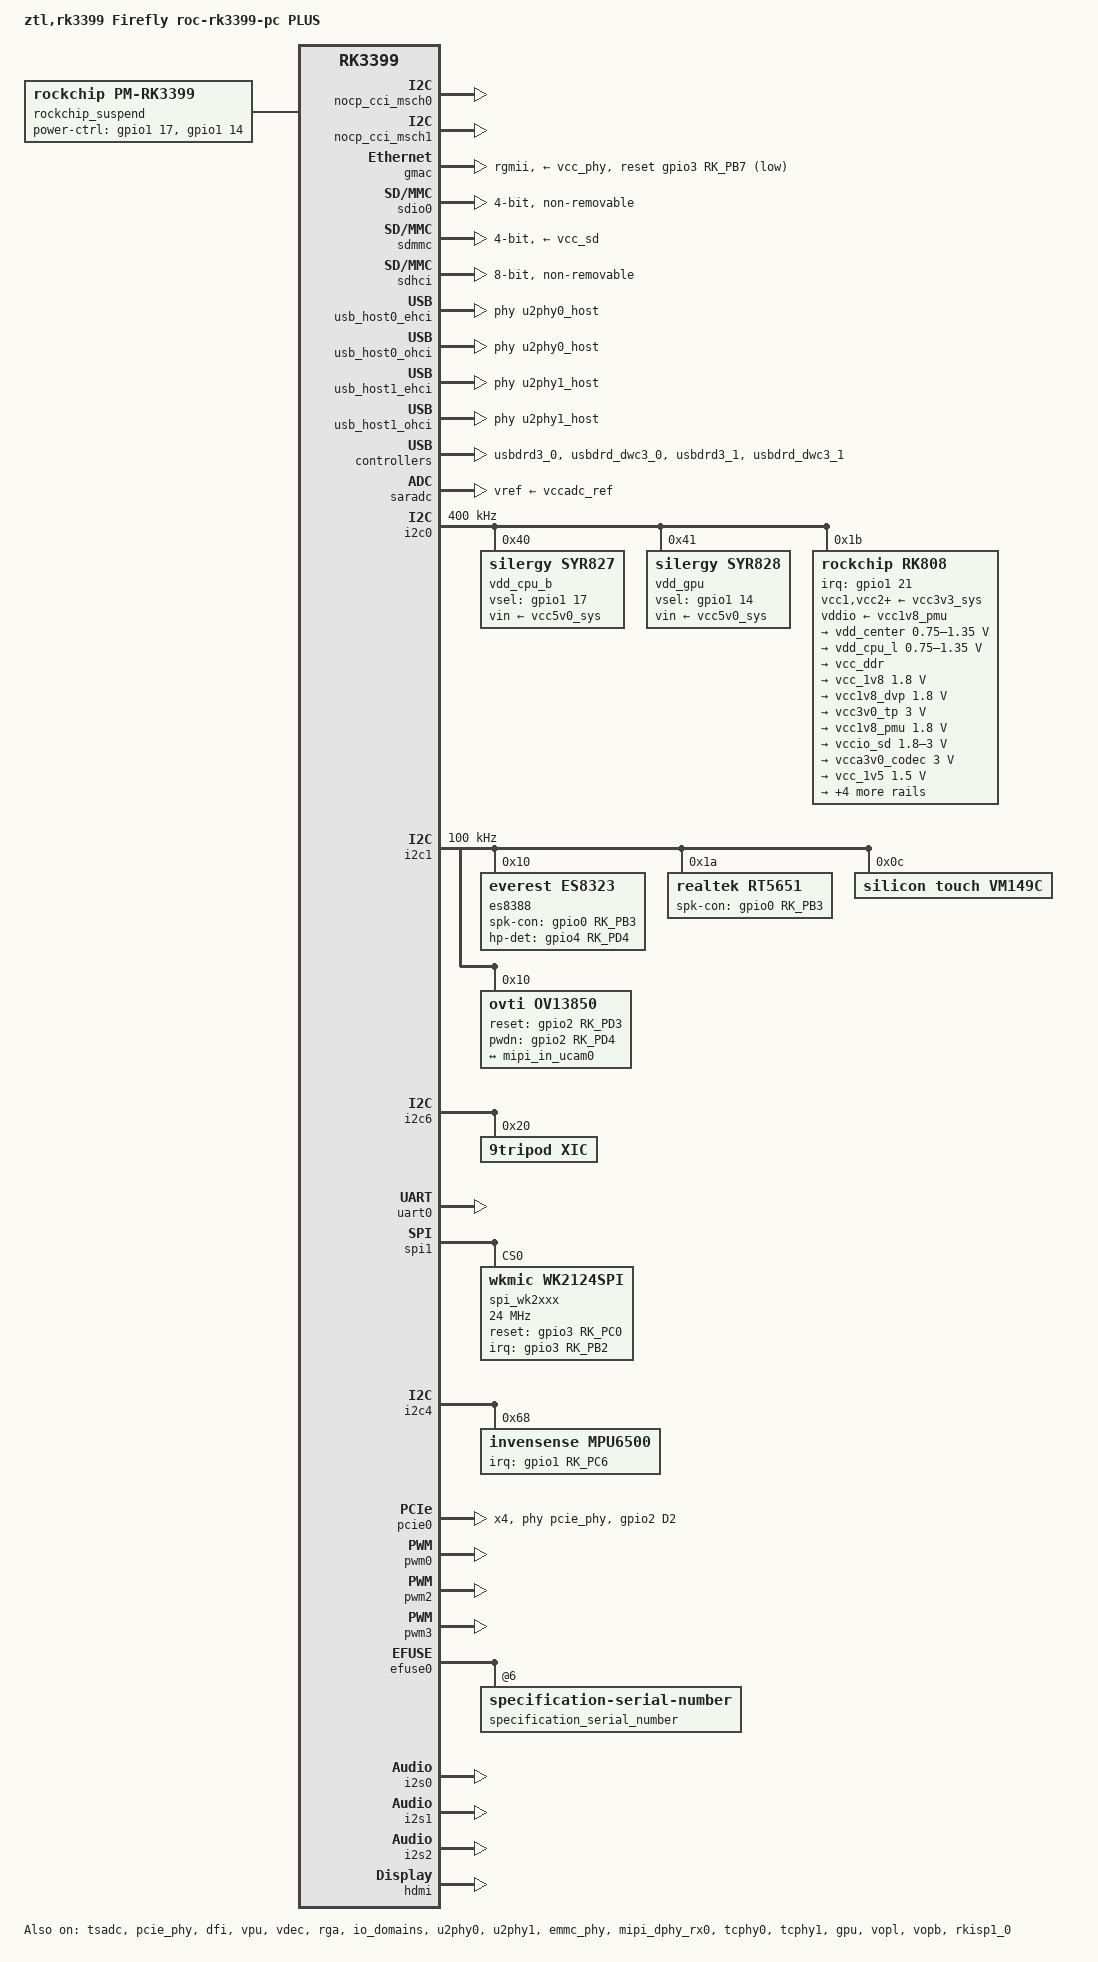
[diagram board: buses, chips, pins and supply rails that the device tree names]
/dts-v1/;
#include <dt-bindings/input/linux-event-codes.h>
#include <dt-bindings/pwm/pwm.h>
#include <dt-bindings/soc/rockchip,boot-mode.h>
#include <dt-bindings/soc/rockchip-system-status.h>
#include "rk3399.dtsi"
#include "rk3399-dc3399-cpu-opp.dtsi"
#include "rk3399-dram-default-timing.dtsi"

/ {
    
    compatible = "ZTL-RK3399-v1.42";
	model = "ztl,rk3399 Firefly roc-rk3399-pc PLUS";

    aliases {
		dsi0 = &mipi_dsi;
		dsi1 = &mipi_dsi1;
		ethernet0 = &gmac;
		i2c0 = &i2c0;
		i2c1 = &i2c1;
		i2c2 = &i2c2;
		i2c3 = &i2c3;
		i2c4 = &i2c4;
		i2c5 = &i2c5;
		i2c6 = &i2c6;
		i2c7 = &i2c7;
		i2c8 = &i2c8;
		serial0 = &uart0;
		serial1 = &uart1;
		serial2 = &uart2;
		serial3 = &uart3;
		serial4 = &uart4;
	};

	cpuinfo {
		compatible = "rockchip,cpuinfo";
		nvmem-cells = <&cpu_id>;
		nvmem-cell-names = "id";
	};
	
	dummy_cpll: dummy_cpll {
		compatible = "fixed-clock";
		clock-frequency = <0>;
		clock-output-names = "dummy_cpll";
		#clock-cells = <0>;
	};

	dummy_vpll: dummy_vpll {
		compatible = "fixed-clock";
		clock-frequency = <0>;
		clock-output-names = "dummy_vpll";
		#clock-cells = <0>;
	};

	usic: usb@fe340000 {
		compatible = "generic-ehci";
		reg = <0x00 0xfe340000 0x00 0x30000>;
		interrupts = <GIC_SPI 33 IRQ_TYPE_LEVEL_HIGH 0>;
		clocks = <&cru HCLK_HSIC>, <&cru SCLK_HSICPHY>, <&cru PCLK_HSICPHY>;
		clock-names = "hclk_hsic", "clk_hsicphy", "pclk_hsicphy";
		rockchip-has-usic;
		status = "disabled";
	};

	iep: iep@ff670000 {
		compatible = "rockchip,iep";
		iommu_enabled = <1>;
		iommus = <&iep_mmu>;
		reg = <0x00 0xff670000 0x00 0x800>;
		interrupts = <GIC_SPI 42 IRQ_TYPE_LEVEL_HIGH 0x00>;
		clocks = <&cru ACLK_IEP>, <&cru HCLK_IEP>;
		clock-names = "aclk_iep", "hclk_iep";
		power-domains = <&power RK3399_PD_IEP>;
		allocator = <1>;
		version = <2>;
		status = "disabled";
	};

    vop1_pwm: voppwm@ff8f01a0 {
		compatible = "rockchip,vop-pwm";
		reg = <0x00 0xff8f01a0 0x00 0x10>;
		#pwm-cells = <3>;
		pinctrl-names = "active";
		pinctrl-0 = <&vop1_pwm_pin>;
		clocks = <&cru SCLK_VOP1_PWM>;
		clock-names = "pwm";
		status = "disabled";
	};

    vop0_pwm: voppwm@ff9001a0 {
		compatible = "rockchip,vop-pwm";
		reg = <0x00 0xff9001a0 0x00 0x10>;
		#pwm-cells = <3>;
		pinctrl-names = "active";
		pinctrl-0 = <&vop0_pwm_pin>;
		clocks = <&cru SCLK_VOP0_PWM>;
		clock-names = "pwm";
		status = "disabled";
	};

    rkisp1_0: rkisp1@ff910000 {
		compatible = "rockchip,rk3399-rkisp1";
		interrupt-names = "isp_irq";
		clocks = <&cru SCLK_ISP0>, <&cru ACLK_ISP0>, <&cru HCLK_ISP0>, <&cru ACLK_ISP0_WRAPPER>, <&cru HCLK_ISP0_WRAPPER>;
		clock-names = "clk_isp", "aclk_isp", "hclk_isp", "aclk_isp_wrap", "hclk_isp_wrap";
		devfreq = <&dmc>;
		status = "okay";

		port {
			#address-cells = <0x01>;
			#size-cells = <0x00>;

			isp0_mipi_in: endpoint@0 {
				reg = <0x00>;
				remote-endpoint = <&dphy_rx0_out>;
			};
		};
	};

    rkisp1_1: rkisp1@ff920000 {
		compatible = "rockchip,rk3399-rkisp1";
		interrupt-names = "isp_irq";
		clocks = <&cru SCLK_ISP1>, <&cru ACLK_ISP1>, <&cru HCLK_ISP1>, <&cru ACLK_ISP1_WRAPPER>, <&cru HCLK_ISP1_WRAPPER>, <&cru PCLK_ISP1_WRAPPER>;
		clock-names = "clk_isp", "aclk_isp", "hclk_isp", "aclk_isp_wrap", "hclk_isp_wrap", "pclk_isp_wrap";
		devfreq = <&dmc>;
		status = "disabled";

		port {
			#address-cells = <0x01>;
			#size-cells = <0x00>;

			isp1_mipi_in: endpoint@0 {
				reg = <0x00>;
				remote-endpoint = <&dphy_tx1rx1_out>;
			};
		};
	};

    mipi_dphy_tx1rx1: mipi-dphy-tx1rx1@ff968000 {
		compatible = "rockchip,rk3399-mipi-dphy";
		reg = <0x00 0xff968000 0x00 0x8000>;
		clocks = <&cru SCLK_MIPIDPHY_REF>, <&cru SCLK_DPHY_TX1RX1_CFG>, <&cru PCLK_VIO_GRF>, <&cru PCLK_MIPI_DSI1>;
		clock-names = "dphy-ref", "dphy-cfg", "grf", "pclk_mipi_dsi";
		rockchip,grf = <&grf>;
		power-domains = <&power RK3399_PD_VIO>;
		status = "disabled";

		ports {
			#address-cells = <1>;
			#size-cells = <0>;

			port@0 {
				reg = <0x00>;
				#address-cells = <1>;
				#size-cells = <0>;

				mipi_in_ucam1: endpoint@1 {
					reg = <0x01>;
					data-lanes = <1 2>;
				};
			};

			port@1 {
				reg = <0x01>;
				#address-cells = <1>;
				#size-cells = <0>;

				dphy_tx1rx1_out: endpoint@0 {
					reg = <0x00>;
					remote-endpoint = <&isp1_mipi_in>;
				};
			};
		};
	};

    hdmi_hdcp2: hdmi-hdcp2@ff988000 {
		compatible = "rockchip,rk3399-hdmi-hdcp2";
		reg = <0x00 0xff988000 0x00 0x2000>;
		interrupts = <GIC_SPI 22 IRQ_TYPE_LEVEL_HIGH 0>;
		clocks = <&cru ACLK_HDCP22>, <&cru PCLK_HDCP22>, <&cru HCLK_VCODEC>;
		clock-names = "aclk_hdcp2", "pclk_hdcp2", "hdcp2_clk_hdmi";
		status = "disabled";
	};

     display_subsystem: display-subsystem {
		compatible = "rockchip,display-subsystem";
		ports = <&vopb_out>, <&drm_logo>;
		clocks = <&cru PLL_VPLL>, <&cru PLL_CPLL>;
		clock-names = "hdmi-tmds-pll", "default-vop-pll";
		devfreq = <&dmc>;
		logo-memory-region = <&drm_logo>;
		status = "okay";

		route {

			route_hdmi: route-hdmi {
				logo,uboot = "logo.bmp";
				logo,kernel = "logo_kernel.bmp";
				logo,mode = "center";
				charge_logo,mode = "center";
				connect = <&vopb_out_hdmi>;
				status = "okay";
			};

			route_dsi: route-dsi {
				logo,uboot = "logo.bmp";
				logo,kernel = "logo_kernel.bmp";
				logo,mode = "center";
				charge_logo,mode = "center";
				connect = <&vopb_out_edp>;
				status = "disabled";
			};

			route_edp: route-edp {
				logo,uboot = "logo.bmp";
				logo,kernel = "logo_kernel.bmp";
				logo,mode = "center";
				charge_logo,mode = "center";
				connect = <&vopb_out_mipi>;
				status = "disabled";
			};
		};
	};

    nocp_cci_msch0: nocp-cci-msch0@ffa86000 {
		compatible = "rockchip,rk3399-nocp";
		reg = <0x00 0xffa86000 0x00 0x400>;
	};

	nocp_gpu_msch0: nocp-gpu-msch0@ffa86400 {
		compatible = "rockchip,rk3399-nocp";
		reg = <0x00 0xffa86400 0x00 0x400>;
	};

	nocp_hp_msch0: nocp-hp-msch0@ffa86800 {
		compatible = "rockchip,rk3399-nocp";
		reg = <0x00 0xffa86800 0x00 0x400>;
	};

	nocp_lp_msch0: nocp-lp-msch0@ffa86c00 {
		compatible = "rockchip,rk3399-nocp";
		reg = <0x00 0xffa86c00 0x00 0x400>;
	};

	nocp_video_msch0: nocp-video-msch0@ffa87000 {
		compatible = "rockchip,rk3399-nocp";
		reg = <0x00 0xffa87000 0x00 0x400>;
	};

	nocp_vio0_msch0: nocp-vio0-msch0@ffa87400 {
		compatible = "rockchip,rk3399-nocp";
		reg = <0x00 0xffa87400 0x00 0x400>;
	};

	nocp_vio1_msch0: nocp-vio1-msch0@ffa87800 {
		compatible = "rockchip,rk3399-nocp";
		reg = <0x00 0xffa87800 0x00 0x400>;
	};

	nocp_cci_msch1: nocp-cci-msch1@ffa8e000 {
		compatible = "rockchip,rk3399-nocp";
		reg = <0x00 0xffa8e000 0x00 0x400>;
	};

	nocp_gpu_msch1: nocp-gpu-msch1@ffa8e400 {
		compatible = "rockchip,rk3399-nocp";
		reg = <0x00 0xffa8e400 0x00 0x400>;
	};

	nocp_hp_msch1: nocp-hp-msch1@ffa8e800 {
		compatible = "rockchip,rk3399-nocp";
		reg = <0x00 0xffa8e800 0x00 0x400>;
	};

	nocp_lp_msch1: nocp-lp-msch1@ffa8ec00 {
		compatible = "rockchip,rk3399-nocp";
		reg = <0x00 0xffa8ec00 0x00 0x400>;
	};

	nocp_video_msch1: nocp-video-msch1@ffa8f000 {
		compatible = "rockchip,rk3399-nocp";
		reg = <0x00 0xffa8f000 0x00 0x400>;
	};

	nocp_vio0_msch1: nocp-vio0-msch1@ffa8f400 {
		compatible = "rockchip,rk3399-nocp";
		reg = <0x00 0xffa8f400 0x00 0x400>;
	};

	nocp_vio1_msch1: nocp-vio1-msch1@ffa8f800 {
		compatible = "rockchip,rk3399-nocp";
		reg = <0x00 0xffa8f800 0x00 0x400>;
	};

	rockchip_system_monitor: rockchip-system-monitor {
		compatible = "rockchip,system-monitor";
		rockchip,thermal-zone = "soc-thermal";
		rockchip,polling-delay = <200>;
	};

    rockchip_suspend: rockchip-suspend {
		compatible = "rockchip,pm-rk3399";
		rockchip,sleep-debug-en = <1>;
		rockchip,virtual-poweroff = <0>;
		rockchip,sleep-mode-config = <0xde>;
		rockchip,wakeup-config = <0x804>;
		rockchip,pwm-regulator-config = <0x04>;
		rockchip,power-ctrl = 
            <&gpio1 17 GPIO_ACTIVE_HIGH>, 
            <&gpio1 14 GPIO_ACTIVE_HIGH>;
		status = "okay";
	};

};

&gmac {
	phy-supply = <&vcc_phy>;
	phy-mode = "rgmii";
	clock_in_out = "input";
	snps,reset-gpio = <&gpio3 RK_PB7 GPIO_ACTIVE_LOW>;
	snps,reset-active-low;
	snps,reset-delays-us = <0 10000 50000>;
	assigned-clocks = <&cru SRST_INTMEM>;
	assigned-clock-parents = <&clkin_gmac>;
	pinctrl-names = "default";
	pinctrl-0 = <&rgmii_pins>;
	tx_delay = <40>;
	rx_delay = <17>;
	status = "okay";
};

&sdio0 {
	clock-frequency = <50000000>;
	clock-freq-min-max = <200000 50000000>;
	supports-sdio;
	bus-width = <4>;
	disable-wp;
	cap-sd-highspeed;
	cap-sdio-irq;
	keep-power-in-suspend;
	mmc-pwrseq = <&sdio_pwrseq>;
	non-removable;
	num-slots = <1>;
	pinctrl-names = "default";
	pinctrl-0 = <&sdio0_bus4 &sdio0_cmd &sdio0_clk>;
	sd-uhs-sdr104;
	status = "okay";
};

&sdmmc {

	clock-frequency = <150000000>;
	clock-freq-min-max = <100000 150000000>;
	supports-sd;
	bus-width = <4>;
	cap-mmc-highspeed;
	cap-sd-highspeed;
	disable-wp;
	num-slots = <1>;
	vmmc-supply = <&vcc_sd>;
	vqmmc-supply = <&vccio_sd>;
	pinctrl-names = "default";
	pinctrl-0 = <&sdmmc_clk &sdmmc_cmd &sdmmc_cd &sdmmc_bus4>;
	status = "okay";
};

&sdhci {
	bus-width = <8>;
	mmc-hs400-1_8v;
	supports-emmc;
	non-removable;
	keep-power-in-suspend;
	mmc-hs400-enhanced-strobe;
	assigned-clock-parents = <&cru &cpu_l3>;
	status = "okay";
};

&usb_host0_ehci {
	clocks = <&cru HCLK_HOST0>,	<&cru HCLK_HOST0_ARB>, <&cru SCLK_DDRC>;
	clock-names = "hclk_host0", "hclk_host0_arb", "usbphy0_480m";
	phys = <&u2phy0_host>;
	phy-names = "usb";
	power-domains = <&power RK3399_PD_PERIHP>;
	status = "okay";
};

&usb_host0_ohci {
	clocks = <&cru HCLK_HOST0>,	<&cru HCLK_HOST0_ARB>, <&cru SCLK_DDRC>;
	clock-names = "hclk_host0", "hclk_host0_arb", "usbphy0_480m";
	phys = <&u2phy0_host>;
	phy-names = "usb";
	power-domains = <&power RK3399_PD_PERIHP>;
	status = "okay";
};

&usb_host1_ehci {
	clocks = <&cru HCLK_HOST1>, <&cru HCLK_HOST1_ARB>, <&cru SCLK_TESTCLKOUT1>;
	clock-names = "hclk_host1", "hclk_host1_arb", "usbphy1_480m";
	phys = <&u2phy1_host>;
	phy-names = "usb";
	power-domains = <&power RK3399_PD_PERIHP>;
	status = "okay";
};

&usb_host1_ohci {
	clocks = <&cru HCLK_HOST1>, <&cru HCLK_HOST1_ARB>, <&cru SCLK_TESTCLKOUT1>;
	clock-names = "hclk_host1", "hclk_host1_arb", "usbphy1_480m";
	phys = <&u2phy1_host>;
	phy-names = "usb";
	power-domains = <&power RK3399_PD_PERIHP>;
	status = "okay";
};

&usbdrd3_0 {
	clocks = <&cru SCLK_USB3OTG0_REF>, <&cru SCLK_USB3OTG0_SUSPEND>, <&cru ACLK_USB3OTG0>, <&cru ACLK_USB3_GRF>;
	clock-names = "ref_clk", "suspend_clk", "bus_clk", "grf_clk";
	power-domains = <&power RK3399_PD_USB3>;
	status = "okay";
};
&usbdrd_dwc3_0 {
	snps,dis_enblslpm_quirk;
	snps,dis-u2-freeclk-exists-quirk;
	snps,dis_u2_susphy_quirk;
	snps,dis-del-phy-power-chg-quirk;
	snps,tx-ipgap-linecheck-dis-quirk;
	snps,xhci-slow-suspend-quirk;
	snps,xhci-trb-ent-quirk;
	snps,usb3-warm-reset-on-resume-quirk;
	maximum-speed = "high-speed";
	status = "okay";
};
&usbdrd3_1 {
	clocks = <&cru SCLK_USB3OTG1_REF>, <&cru SCLK_USB3OTG1_SUSPEND>, <&cru ACLK_USB3OTG1>, <&cru ACLK_USB3_GRF>;
	clock-names = "ref_clk", "suspend_clk", "bus_clk", "grf_clk";
	power-domains = <&power RK3399_PD_USB3>;
	status = "okay";
};
&usbdrd_dwc3_1 {
	snps,dis_enblslpm_quirk;
	snps,dis-u2-freeclk-exists-quirk;
	snps,dis_u2_susphy_quirk;
	snps,dis-del-phy-power-chg-quirk;
	snps,tx-ipgap-linecheck-dis-quirk;
	snps,xhci-slow-suspend-quirk;
	snps,xhci-trb-ent-quirk;
	snps,usb3-warm-reset-on-resume-quirk;
	status = "okay";
};

&saradc {
	vref-supply = <&vccadc_ref>;
	status = "okay";
};

&i2c0 {
	i2c-scl-rising-time-ns = <168>;
	i2c-scl-falling-time-ns = <4>;
	clock-frequency = <400000>;
	status = "okay";

	vdd_cpu_b: syr827@40 {
		compatible = "silergy,syr827";
		reg = <0x40>;
		vin-supply = <&vcc5v0_sys>;
		regulator-compatible = "fan53555-reg";
		pinctrl-names = "default";
		pinctrl-0 = <&vsel1_gpio>;
		vsel-gpios = <&gpio1 17 GPIO_ACTIVE_HIGH>;
		regulator-name = "vdd_cpu_b";
		regulator-min-microvolt = <712500>;
		regulator-max-microvolt = <1500000>;
		regulator-ramp-delay = <1000>;
		fcs,suspend-voltage-selector = <1>;
		regulator-always-on;
		regulator-boot-on;
		regulator-initial-state = <3>;

		regulator-state-mem {
			regulator-off-in-suspend;
		};
	};

	vdd_gpu: syr828@41 {
		compatible = "silergy,syr828";
		reg = <0x41>;
		vin-supply = <&vcc5v0_sys>;
		regulator-compatible = "fan53555-reg";
		pinctrl-names = "default";
		pinctrl-0 = <&vsel2_gpio>;
		vsel-gpios = <&gpio1 14 GPIO_ACTIVE_HIGH>;
		regulator-name = "vdd_gpu";
		regulator-min-microvolt = <712500>;
		regulator-max-microvolt = <1500000>;
		regulator-ramp-delay = <1000>;
		fcs,suspend-voltage-selector = <1>;
		regulator-always-on;
		regulator-boot-on;
		regulator-initial-state = <3>;

		regulator-state-mem {
			regulator-off-in-suspend;
		};
	};

	rk808: pmic@1b {
		compatible = "rockchip,rk808";
		reg = <0x1b>;
		interrupt-parent = <&gpio1>;
		interrupts = <21 IRQ_TYPE_LEVEL_LOW>;
		pinctrl-names = "default";
		pinctrl-0 = <&pmic_int_l &pmic_dvs2>;
		rockchip,system-power-controller;
		wakeup-source;
		#clock-cells = <0x01>;
		clock-output-names = "rk808-clkout1\0rk808-clkout2";
		vcc1-supply = <&vcc3v3_sys>;
		vcc2-supply = <&vcc3v3_sys>;
		vcc3-supply = <&vcc3v3_sys>;
		vcc4-supply = <&vcc3v3_sys>;
		vcc6-supply = <&vcc3v3_sys>;
		vcc7-supply = <&vcc3v3_sys>;
		vcc8-supply = <&vcc3v3_sys>;
		vcc9-supply = <&vcc3v3_sys>;
		vcc10-supply = <&vcc3v3_sys>;
		vcc11-supply = <&vcc3v3_sys>;
		vcc12-supply = <&vcc3v3_sys>;
		vddio-supply = <&vcc1v8_pmu>;
		regulators {

			vdd_center: DCDC_REG1 {
				regulator-always-on;
				regulator-boot-on;
				regulator-min-microvolt = <750000>;
				regulator-max-microvolt = <1350000>;
				regulator-ramp-delay = <6001>;
				regulator-name = "vdd_center";

				regulator-state-mem {
					regulator-off-in-suspend;
				};
			};

			vdd_cpu_l: DCDC_REG2 {
				regulator-always-on;
				regulator-boot-on;
				regulator-min-microvolt = <750000>;
				regulator-max-microvolt = <1350000>;
				regulator-ramp-delay = <6001>;
				regulator-name = "vdd_cpu_l";

				regulator-state-mem {
					regulator-off-in-suspend;
				};
			};

			vcc_ddr: DCDC_REG3 {
				regulator-always-on;
				regulator-boot-on;
				regulator-name = "vcc_ddr";

				regulator-state-mem {
					regulator-on-in-suspend;
				};
			};

			vcc_1v8: DCDC_REG4 {
				regulator-always-on;
				regulator-boot-on;
				regulator-min-microvolt = <1800000>;
				regulator-max-microvolt = <1800000>;
				regulator-name = "vcc_1v8";

				regulator-state-mem {
					regulator-on-in-suspend;
					regulator-suspend-microvolt = <1800000>;
				};
			};

			vcc1v8_dvp: LDO_REG1 {
				regulator-always-on;
				regulator-boot-on;
				regulator-min-microvolt = <1800000>;
				regulator-max-microvolt = <1800000>;
				regulator-name = "vcc1v8_dvp";

				regulator-state-mem {
					regulator-off-in-suspend;
				};
			};

			vcc3v0_tp: LDO_REG2 {
				regulator-always-on;
				regulator-boot-on;
				regulator-min-microvolt = <3000000>;
				regulator-max-microvolt = <3000000>;
				regulator-name = "vcc3v0_tp";

				regulator-state-mem {
					regulator-off-in-suspend;
				};
			};

			vcc1v8_pmu: LDO_REG3 {
				regulator-always-on;
				regulator-boot-on;
				regulator-min-microvolt = <1800000>;
				regulator-max-microvolt = <1800000>;
				regulator-name = "vcc1v8_pmu";

				regulator-state-mem {
					regulator-on-in-suspend;
					regulator-suspend-microvolt = <1800000>;
				};
			};

			vccio_sd: LDO_REG4 {
				regulator-always-on;
				regulator-boot-on;
				regulator-min-microvolt = <1800000>;
				regulator-max-microvolt = <3000000>;
				regulator-name = "vccio_sd";

				regulator-state-mem {
					regulator-on-in-suspend;
					regulator-suspend-microvolt = <3000000>;
				};
			};

			vcca3v0_codec: LDO_REG5 {
				regulator-always-on;
				regulator-boot-on;
				regulator-min-microvolt = <3000000>;
				regulator-max-microvolt = <3000000>;
				regulator-name = "vcca3v0_codec";

				regulator-state-mem {
					regulator-off-in-suspend;
				};
			};

			vcc_1v5: LDO_REG6 {
				regulator-always-on;
				regulator-boot-on;
				regulator-min-microvolt = <1500000>;
				regulator-max-microvolt = <1500000>;
				regulator-name = "vcc_1v5";

				regulator-state-mem {
					regulator-on-in-suspend;
					regulator-suspend-microvolt = <1500000>;
				};
			};

			vcca1v8_codec: LDO_REG7 {
				regulator-always-on;
				regulator-boot-on;
				regulator-min-microvolt = <1800000>;
				regulator-max-microvolt = <1800000>;
				regulator-name = "vcca1v8_codec";

				regulator-state-mem {
					regulator-off-in-suspend;
				};
			};

			vcc_3v0: LDO_REG8 {
				regulator-always-on;
				regulator-boot-on;
				regulator-min-microvolt = <3000000>;
				regulator-max-microvolt = <3000000>;
				regulator-name = "vcc_3v0";

				regulator-state-mem {
					regulator-on-in-suspend;
					regulator-suspend-microvolt = <3000000>;
				};
			};

			vcc3v3_s3: SWITCH_REG1 {
				regulator-name = "vcc3v3_s3";
				regulator-always-on;
				regulator-boot-on;
				regulator-state-mem {
					regulator-on-in-suspend;
				};
			};

			vcc3v3_s0: SWITCH_REG2 {
				regulator-name = "vcc3v3_s0";
				regulator-always-on;
				regulator-boot-on;
				regulator-state-mem {
					regulator-off-in-suspend;
				};
			};
		};
	};
};

&i2c1 {

	clocks = <&cru SCLK_I2C1>, <&cru PCLK_I2C1>;
	clock-names = "i2c", "pclk";
	i2c-scl-rising-time-ns = <600>;
	i2c-scl-falling-time-ns = <15>;
	i2c_scl_falling-time-ns = <20>;
	clock-frequency = <100000>;
    status = "okay";

	es8388: es8388@10 {
		#sound-dai-cells = <0x00>;
		compatible = "everest,es8323";
		reg = <0x10>;
		clocks = <&cru SCLK_I2S_8CH_OUT>;
		clock-names = "mclk";
		pinctrl-names = "default";
		pinctrl-0 = <&i2s_8ch_mclk>;
		spk-con-gpio = <&gpio0 RK_PB3 GPIO_ACTIVE_HIGH>;
		hp-det-gpio = <&gpio4 RK_PD4 GPIO_ACTIVE_HIGH>;
		status = "okay";
	};

	rt5651: rt5651@1a {
		#sound-dai-cells = <0x00>;
		compatible = "realtek,rt5651";
		reg = <0x1a>;
		clocks = <&cru SCLK_I2S_8CH_OUT>;
		clock-names = "mclk";
		pinctrl-names = "default";
		pinctrl-0 = <&i2s_8ch_mclk>;
		spk-con-gpio = <&gpio0 RK_PB3 GPIO_ACTIVE_HIGH>;
		status = "okay";
	};

	gsl3673: gsl3673@40 {
		compatible = "GSL,GSL3673";
		reg = <0x40>;
		screen_max_x = <1536>;
		screen_max_y = <2048>;
		irq_gpio_number = <&gpio1 20 IRQ_TYPE_LEVEL_LOW>;
		rst_gpio_number = <&gpio4 22 GPIO_ACTIVE_HIGH>;
        status = "disabled";
	};

	tc358749x: tc358749x@f {
		compatible = "toshiba,tc358749";
		reg = <0x0f>;
		clocks = <&ext_cam_clk>;
		clock-names = "refclk";
		reset-gpios = <&gpio2 RK_PA7 GPIO_ACTIVE_LOW>;
		pinctrl-names = "default";
		pinctrl-0 = <&hdmiin_gpios>;
		rockchip,camera-module-index = <0>;
		rockchip,camera-module-facing = "back";
		rockchip,camera-module-name = "default";
		rockchip,camera-module-lens-name = "default";
		status = "disabled";

		port {

			hdmiin_out0: endpoint {
				data-lanes = <1 2 3 4>;
				clock-noncontinuous;
				link-frequencies = <0 297000000>;
			};
		};
	};

	vm149c: vm149c@0c {
		compatible = "silicon touch,vm149c";
		reg = <0x0c>;
		rockchip,camera-module-index = <0>;
		rockchip,camera-module-facing = "back";
        status = "okay";
	};

	ov13850: ov13850@10 {
		compatible = "ovti,ov13850";
		reg = <0x10>;
		clocks = <&cru SCLK_CIF_OUT>;
		clock-names = "xvclk";
		reset-gpios = <&gpio2 RK_PD3 GPIO_ACTIVE_HIGH>;
		pwdn-gpios = <&gpio2 RK_PD4 GPIO_ACTIVE_HIGH>;
		pinctrl-names = "rockchip,camera_default";
		pinctrl-0 = <&cif_clkout>;
		rockchip,camera-module-index = <0>;
		rockchip,camera-module-facing = "back";
		rockchip,camera-module-name = "CMK-CT0116";
		rockchip,camera-module-lens-name = "Largan-50013A1";
		lens-focus = <&vm149c>;
        status = "okay";

		port {

			ucam_out0: endpoint {
				remote-endpoint = <&mipi_in_ucam0>;
				data-lanes = <1 2>;
			};
		};
	};
};


&i2c6 {
	i2c-scl-rising-time-ns = <300>;
	i2c-scl-falling-time-ns = <15>;
	status = "okay";

	xic@20 {
		compatible = "9tripod,xic";
		reg = <0x20>;
	};
};

&uart0 {
	pinctrl-0 = <&uart0_xfer &uart0_cts>;
	assigned-clocks = <&cru SRST_H_PERILP0_NOC>;
	assigned-clock-parents = <&cru PLL_GPLL>;
	status = "okay";
};

&uart1 {
	assigned-clocks = <&cru SRST_ROM>;
	assigned-clock-parents = <&cru PLL_GPLL>;
	status = "disabled";
};

&uart2 {
	assigned-clocks = <&cru SRST_ROM>;
	assigned-clock-parents = <&cru PLL_GPLL>;
	status = "disabled";
};

&uart3 {
    pinctrl-0 = <&uart3_xfer &uart3_cts &uart3_rts>;
	assigned-clocks = <&cru SRST_ROM>;
	assigned-clock-parents = <&cru PLL_GPLL>;
	status = "disabled";
};

&spi1 {
	max-freq = <48000000>;
	status = "okay";

	spi_wk2xxx: spi_wk2xxx@00 {
		compatible = "wkmic,wk2124spi";
		reg = <0x00>;
		spi-max-frequency = <24000000>;
		reset-gpio = <&gpio3 RK_PC0 GPIO_ACTIVE_HIGH>;
		irq-gpio = <&gpio3 RK_PB2 IRQ_TYPE_EDGE_FALLING>;
		status = "okay";
	};
};

&cpu_thermal {
    polling-delay-passive = <20>;
    polling-delay = <1000>;
    sustainable-power = <1000>;

    trips {

        cpu_alert1 {
            temperature = <85000>;
        };

        cpu_crit {
            temperature = <115000>;
        };
    };

    cooling-maps {

        map0 {
            trip = <&cpu_alert1>;
            cooling-device = <&cpu_l0 THERMAL_NO_LIMIT THERMAL_NO_LIMIT>;
            contribution = <1024>;
        };

        map1 {
            trip = <&cpu_alert1>;
            cooling-device = <&cpu_b0 THERMAL_NO_LIMIT THERMAL_NO_LIMIT>;
            contribution = <1024>;
        };

        map2 {
            trip = <&cpu_alert1>;
            cooling-device = <&gpu THERMAL_NO_LIMIT THERMAL_NO_LIMIT>;
            contribution = <4096>;
        };
    };
};

&tsadc {
	rockchip,hw-tshut-temp = <120000>;
	pinctrl-names = "gpio", "otpout";
	pinctrl-0 = <&otp_pin>;
	pinctrl-1 = <&otp_out>;
	rockchip,hw-tshut-mode = <1>;
	rockchip,hw-tshut-polarity = <1>;
	status = "okay";
};

&power {

    power-domain@RK3399_PD_VDU {
			reg = <RK3399_PD_VDU>;
			clocks = <&cru ACLK_VDU>,
				 <&cru HCLK_VDU>;
			pm_qos = <&qos_video_m1_r>,
				 <&qos_video_m1_w>;
	};

    power-domain@RK3399_PD_PERIHP {
        reg = <RK3399_PD_PERIHP>;
        #address-cells = <0x01>;
        #size-cells = <0x00>;
        clocks = <&cru ACLK_PERIHP>;
        pm_qos = <&qos_perihp &qos_pcie &qos_usb_host0 &qos_usb_host1>;

        power-domain@RK3399_PD_SD {
            reg = <RK3399_PD_SD>;
			clocks = <&cru HCLK_SDMMC>,
				 <&cru SCLK_SDMMC>;
			pm_qos = <&qos_sd>;
			#power-domain-cells = <0>;
        };
    };

    power-domain@RK3399_PD_VIO {
        power-domain@RK3399_PD_TCPC0 {
			reg = <0x08>;
			clocks = <&cru SCLK_UPHY0_TCPDCORE>, <&cru SCLK_UPHY0_TCPDPHY_REF>;
		};

        power-domain@RK3399_PD_TCPC1 {
            reg = <0x09>;
            clocks = <&cru SCLK_UPHY1_TCPDCORE>, <&cru SCLK_UPHY1_TCPDPHY_REF>;
        };
    };
};

&pmugrf {
	#address-cells = <0x01>;
	#size-cells = <0x01>;

	pmu_io_domains {
		compatible = "rockchip,rk3399-pmu-io-voltage-domain";
		pmu1830-supply = <&vcc_1v8>;
		status = "okay";
	};

	reboot_mode: reboot-mode {
		compatible = "syscon-reboot-mode";
		offset = <0x300>;
		mode-bootloader = <BOOT_BL_DOWNLOAD>;
		mode-charge = <BOOT_CHARGING>;
		mode-fastboot = <BOOT_FASTBOOT>;
		mode-loader = <BOOT_BL_DOWNLOAD>;
		mode-normal = <REBOOT_FLAG>;
		mode-recovery = <BOOT_RECOVERY>;
		mode-ums = <BOOT_UMS>;
	};

	pmu_pvtm: pmu-pvtm {
		compatible = "rockchip,rk3399-pmu-pvtm";
		clocks = <&pmucru PLL_VPLL>;
		clock-names = "pmu";
		resets = <&cru PCLK_I2C0_PMU>;
		reset-names = "pmu";
		status = "disabled";
	};
};

&uart4 {
	assigned-clocks = <&pmucru SRST_UART4>;
	assigned-clock-parents = <&pmucru SRST_P_INTMEM>;
	status = "disabled";
};

&i2c4 {
	i2c-scl-rising-time-ns = <600>;
	i2c-scl-falling-time-ns = <20>;
	status = "okay";

	fusb0: fusb30x@22 {
		compatible = "fairchild,fusb302";
		reg = <0x22>;
		pinctrl-names = "default";
		pinctrl-0 = <&fusb0_int>;
		int-n-gpios = <&gpio1 2 GPIO_ACTIVE_HIGH>;
		vbus-5v-gpios = <&gpio2 0 GPIO_ACTIVE_HIGH>;
		status = "disabled";
	};

	mpu6500@68 {
		compatible = "invensense,mpu6500";
		reg = <0x68>;
		irq-gpio = <&gpio1 RK_PC6 IRQ_TYPE_EDGE_RISING>;
		mpu-int_config = <0x10>;
		mpu-level_shifter = <0>;
		mpu-orientation = <0 1 0 1 0 0 0 0 1>;
		orientation-x = <1>;
		orientation-y = <0>;
		orientation-z = <0>;
		mpu-debug = <1>;
        status = "okay";
	};
};


&pcie_phy {
    compatible = "rockchip,rk3399-pcie-phy";
    #phy-cells = <0>;
    rockchip,grf = <&grf>;
    status = "okay";
};

&pcie0 {
	linux,pci-domain = <0x00>;
	phys = <&pcie_phy>;
	phy-names = "pcie-phy";
	ep-gpios = <&gpio2 RK_PA4 GPIO_ACTIVE_HIGH>;
	num-lanes = <4>;
	pinctrl-0 = <&pcie_clkreqn>;
	status = "okay";
}; 

&pwm0 {
	pinctrl-names = "active";
	status = "okay";
};

&pwm1 {
	pinctrl-names = "active";
};

&pwm2 {
	pinctrl-names = "active";
	status = "okay";
};

&pwm3 {
	pinctrl-names = "active";
	interrupts = <RK_PA0 61 IRQ_TYPE_LEVEL_HIGH 0>;
	remote_pwm_id = <3>;
	handle_cpu_id = <0>;
	status = "okay";

	ir_key0 {
		rockchip,usercode = <0xff40>;
		rockchip,key_table = 
            <0xb2 KEY_POWER>,
            <0xe5 KEY_HOME>,
            <0xbd KEY_BACK>,
            <0xba KEY_MENU>,
            <0xf4 KEY_UP>,
            <0xf1 KEY_DOWN>,
            <0xef KEY_LEFT>,
            <0xee KEY_RIGHT>,
            <0xf2 KEY_ENTER>,
            <0xf0 KEY_REPLY>,
            <0xea KEY_VOLUMEUP>,
            <0xe3 KEY_VOLUMEDOWN>,
            <0xbc KEY_MUTE>,
            <0xfe KEY_PROG2>,
            <0xfd KEY_PROG3>,
            <0xfc KEY_PROG4>,
            <0xfb KEY_KP5>,
            <0xfa KEY_KP6>,
            <0xf9 KEY_KP7>,
            <0xf8 KEY_KP8>,
            <0xf7 KEY_KP9>,
            <0xb6 KEY_F10>,
            <0xff KEY_F11>,
            <0xed KEY_F14>,
            <0xaf KEY_POWER>,
            <0x8b KEY_VOLUMEUP>,
            <0xb9 KEY_VOLUMEDOWN>;
	};
};

&dfi {
	status = "okay";
};

&dmc {
	interrupts = <RK_PA0 1 IRQ_TYPE_LEVEL_HIGH 0x00>;
	clocks = <&cru SCLK_TESTCLKOUT2>;
	clock-names = "dmc_clk";
	ddr_timing = <&ddr_timing>;
	upthreshold = <40>;
	downdifferential = <20>;
	system-status-freq = 
        <SYS_STATUS_NORMAL 800000>,
        <SYS_STATUS_REBOOT 528000>,
        <SYS_STATUS_SUSPEND 200000>,
        <SYS_STATUS_VIDEO_1080P 200000>,
        <SYS_STATUS_VIDEO_4K 600000>,
        <SYS_STATUS_VIDEO_4K_10B 800000>,
        <SYS_STATUS_PERFORMANCE 800000>,
        <SYS_STATUS_BOOST 400000>,
        <SYS_STATUS_DUALVIEW 600000>,
        <SYS_STATUS_ISP 600000>;
	auto-min-freq = <200000>;
	auto-freq-en = <1>;
	operating-points-v2 = <&dmc_opp_table>;
	center-supply = <&vdd_center>;
	vop-bw-dmc-freq = <
        0 762 200000
        763 1893 400000
        1894 3012 528000
        3013 99999 800000
    >;
	status = "disabled";
};

&vpu {
	rockchip,grf = <&grf>;
	iommu_enabled = <1>;
	interrupts = <GIC_SPI 113 IRQ_TYPE_LEVEL_HIGH 0>,
		     <GIC_SPI 114 IRQ_TYPE_LEVEL_HIGH 0>;
	interrupt-names = "irq_dec", "irq_enc";
	clock-names = "aclk_vcodec", "hclk_vcodec";
	resets = <&cru SRST_H_VCODEC>, <&cru SRST_A_VCODEC>;
	reset-names = "video_h", "video_a";
	power-domains = <&power RK3399_PD_VCODEC>;
	dev_mode = <0>;
	allocator = <1>;
	status = "okay";
};

&vpu_mmu {
	clock-names = "aclk", "hclk";
	power-domains = <&power RK3399_PD_VCODEC>;
};

&vdec {
	rockchip,grf = <&grf>;
	iommu_enabled = <1>;
	interrupt-names = "irq_dec";
	clock-names = "aclk_vcodec", "hclk_vcodec", "clk_cabac", "clk_core";
	resets = <&cru SRST_H_VDU>, <&cru SRST_A_VDU>, <&cru SRST_VDU_CORE>, <&cru SRST_VDU_CA>, <&cru SRST_A_VDU_NOC>, <&cru SRST_H_VDU_NOC>;
	reset-names = "video_h", "video_a", "video_core", "video_cabac", "niu_a", "niu_h";
	dev_mode = <2>;
	allocator = <1>;
	status = "okay";
};

&vdec_mmu {
	clock-names = "aclk", "hclk";
};

&iep_mmu {
	interrupt-names = "iep_mmu";
};

&rga {
	clock-names = "aclk_rga", "hclk_rga", "clk_rga";
	resets = <&cru SRST_RGA_CORE>, <&cru SRST_A_RGA>, <&cru SRST_H_RGA>;
	reset-names = "core", "axi", "ahb";
	dev_mode = <0x01>;
	dma-coherent;
	status = "okay";
};

&efuse0 {
	specification_serial_number: specification-serial-number@6 {
		reg = <0x06 0x01>;
		bits = <0 5>;
	};
};

&pmucru {
	assigned-clocks = <&pmucru PLL_PPLL>, <&pmucru FCLK_CM0S_SRC_PMU>;
	assigned-clock-rates = <676000000 97000000>;
};

&cru {
	assigned-clocks = <&cru ACLK_PERIHP>,
        <&cru ACLK_PERILP0>,
        <&cru HCLK_PERILP1>,
        <&cru SCLK_SDMMC>,
        <&cru ACLK_EMMC>,
        <&cru ACLK_CENTER>,
        <&cru HCLK_SD>,
        <&cru SCLK_SDIO_DRV>,
        <&cru SCLK_VDU_CORE>,
        <&cru ACLK_USB3>,
        <&cru FCLK_CM0S>,
        <&cru ACLK_CCI>,
        <&cru PCLK_ALIVE>,
        <&cru ACLK_GMAC>,
        <&cru SCLK_CS>,
        <&cru SCLK_CCI_TRACE>,
        <&cru ARMCLKL>,
        <&cru ARMCLKB>,
        <&cru PLL_NPLL>,
        <&cru ACLK_GPU>,
        <&cru PLL_GPLL>,
        <&cru ACLK_PERIHP>,
        <&cru HCLK_PERIHP>,
        <&cru PCLK_PERIHP>,
        <&cru ACLK_PERILP0>,
        <&cru HCLK_PERILP0>,
        <&cru PCLK_PERILP0>,
        <&cru HCLK_PERILP1>,
        <&cru PCLK_PERILP1>,
        <&cru SCLK_I2C1>,
        <&cru SCLK_I2C2>,
        <&cru SCLK_I2C3>,
        <&cru SCLK_I2C5>,
        <&cru SCLK_I2C6>,
        <&cru SCLK_I2C7>,
        <&cru SCLK_SPI0>,
        <&cru SCLK_SPI1>,
        <&cru SCLK_SPI2>,
        <&cru SCLK_SPI4>,
        <&cru SCLK_SPI5>,
        <&cru ACLK_GIC>,
        <&cru ACLK_ISP0>,
        <&cru ACLK_ISP1>,
        <&cru SCLK_VOP0_PWM>,
        <&cru SCLK_VOP1_PWM>,
        <&cru PCLK_EDP>,
        <&cru ACLK_HDCP>,
        <&cru ACLK_VIO>,
        <&cru HCLK_SD>,
        <&cru SCLK_CRYPTO0>,
        <&cru SCLK_CRYPTO1>,
        <&cru SCLK_EMMC>,
        <&cru ACLK_EMMC>,
        <&cru ACLK_CENTER>,
        <&cru ACLK_IEP>,
        <&cru ACLK_RGA>,
        <&cru SCLK_RGA_CORE>,
        <&cru ACLK_VDU>,
        <&cru ACLK_VCODEC>,
        <&cru PCLK_DDR>,
        <&cru ACLK_GMAC>,
        <&cru SCLK_VDU_CA>,
        <&cru SCLK_VDU_CORE>,
        <&cru ACLK_USB3>,
        <&cru FCLK_CM0S>,
        <&cru ACLK_CCI>,
        <&cru PCLK_ALIVE>,
        <&cru SCLK_CS>,
        <&cru SCLK_CCI_TRACE>,
        <&cru ACLK_VOP0>,
        <&cru HCLK_VOP0>,
        <&cru ACLK_VOP1>,
        <&cru HCLK_VOP1>;
	assigned-clock-rates = <75000000>, <50000000>,
        <50000000>, <50000000>,
        <50000000>, <100000000>,
        <50000000>, <150000000>,
        <150000000>, <150000000>,
        <50000000>, <150000000>,
        <50000000>, <100000000>,
        <75000000>, <75000000>,
        <816000000>, <816000000>,
        <600000000>, <200000000>,
        <800000000>, <150000000>,
        <75000000>, <37500000>,
        <300000000>, <100000000>,
        <50000000>, <100000000>,
        <50000000>, <100000000>,
        <100000000>, <100000000>,
        <100000000>, <100000000>,
        <100000000>, <50000000>,
        <50000000>, <50000000>,
        <50000000>, <50000000>,
        <200000000>, <400000000>,
        <400000000>, <100000000>,
        <100000000>, <100000000>,
        <400000000>, <400000000>,
        <200000000>, <100000000>,
        <200000000>, <200000000>,
        <100000000>, <400000000>,
        <400000000>, <400000000>,
        <400000000>, <300000000>,
        <400000000>, <200000000>,
        <400000000>, <300000000>,
        <300000000>, <300000000>,
        <300000000>, <300000000>,
        <100000000>, <150000000>,
        <150000000>, <400000000>,
        <100000000>, <400000000>,
        <100000000>;
};

&grf {
    pvtm {
		compatible = "rockchip,rk3399-pvtm";
		clocks = <&cru SCLK_PVTM_CORE_L>, <&cru SCLK_PVTM_CORE_B>, <&cru SCLK_PVTM_GPU>, <&cru SCLK_PVTM_DDR>;
		clock-names = "core_l", "core_b", "gpu", "ddr";
		resets = <&cru SRST_PVTM_CORE_L>, <&cru SRST_PVTM_CORE_B>, <&cru SRST_PVTM_GPU>, <&cru SRST_PVTM_DDR>;
		reset-names = "core_l", "core_b", "gpu", "ddr";
		status = "okay";
	};
};

&io_domains {
    bt656-supply = <&vcc_1v8>;
    audio-supply = <&vcca1v8_codec>;
    sdmmc-supply = <&vccio_sd>;
    gpio1830-supply = <&vcc_3v0>;
    status = "okay";
};

&u2phy0 {
    status = "okay";

    u2phy0_host: host-port {
        status = "okay";
    };

    u2phy0_otg: otg-port {
        vbus-supply = <&vbus_typec_regulator>;
        status = "okay";
    };
};

&u2phy1 {

    status = "okay";

    u2phy1_host: host-port {
        status = "okay";
    };

    u2phy1_otg: otg-port {
        status = "okay";
    };
};
&emmc_phy {
    status = "okay";
};

&mipi_dphy_rx0 {
    status = "okay";

    ports {
        #address-cells = <0x01>;
        #size-cells = <0x00>;

        port@0 {
            reg = <0x00>;
            #address-cells = <0x01>;
            #size-cells = <0x00>;

            mipi_in_ucam0: endpoint@1 {
                reg = <0x01>;
                remote-endpoint = <&ucam_out0>;
                data-lanes = <1 2>;
            };
        };

        port@1 {
            reg = <0x01>;
            #address-cells = <0x01>;
            #size-cells = <0x00>;

            dphy_rx0_out: endpoint@0 {
                reg = <0x00>;
                remote-endpoint = <&isp0_mipi_in>;
            };
        };
    };
};

&tcphy0 {
	#phy-cells = <0x01>;
	rockchip,typec-conn-dir = <0xe580 0 16>;
	rockchip,usb3tousb2-en = <0xe580 3 19>;
	rockchip,usb3-host-disable = <0x2434 0 16>;
	rockchip,usb3-host-port = <0x2434 12 28>;
	rockchip,external-psm = <0xe588 14 30>;
	rockchip,pipe-status = <0xe5c0 0 0>;
	rockchip,uphy-dp-sel = <0x6268 19 19>;
	status = "okay";
};

&tcphy1 {
	#phy-cells = <0x01>;
	rockchip,typec-conn-dir = <0xe58c 0 16>;
	rockchip,usb3tousb2-en = <0xe58c 3 19>;
	rockchip,usb3-host-disable = <0x2444 0 16>;
	rockchip,usb3-host-port = <0x2444 12 28>;
	rockchip,external-psm = <0xe594 14 30>;
	rockchip,pipe-status = <0xe5c0 16 16>;
	rockchip,uphy-dp-sel = <0x6268 3 19>;
	status = "okay";
};

&spdif {
	i2c-scl-rising-time-ns = <450>;
	i2c-scl-falling-time-ns = <15>;
	assigned-clocks = <&cru SRST_CM0S_NOC>;
	assigned-clock-parents = <&cru PLL_GPLL>;
	status = "disabled";
};

&i2s0 {

	resets = <&cru SRST_I2S0_8CH>, <&cru SRST_H_I2S0_8CH>;
	reset-names = "reset-m", "reset-h";
	pinctrl-names = "default";
	pinctrl-0 = <&i2s0_8ch_bus>;
	power-domains = <&power RK3399_PD_SDIOAUDIO>;
	rockchip,i2s-broken-burst-len;
	rockchip,playback-channels = <8>;
	rockchip,capture-channels = <8>;
	assigned-clocks = <&cru SRST_CRYPTO0_S>;
	assigned-clock-parents = <&cru PLL_GPLL>;
	status = "okay";
};

&i2s1 {
	resets = <&cru SRST_I2S1_8CH>, <&cru SRST_H_I2S1_8CH>;
	reset-names = "reset-m", "reset-h";
	rockchip,i2s-broken-burst-len;
	rockchip,playback-channels = <8>;
	rockchip,capture-channels = <8>;
	assigned-clocks = <&cru SRST_CRYPTO0_M>;
	assigned-clock-parents = <&cru PLL_GPLL>;
	status = "okay";
};

&i2s2 {
	resets = <&cru SRST_I2S2_8CH>, <&cru SRST_H_I2S2_8CH>;
	reset-names = "reset-m", "reset-h";
	assigned-clocks = <&cru SRST_P_DCF>;
	assigned-clock-parents = <&cru PLL_GPLL>;
	status = "okay";
};

&gpu {
	interrupts = <GIC_SPI 19 IRQ_TYPE_LEVEL_HIGH 0>,
		     <GIC_SPI 20 IRQ_TYPE_LEVEL_HIGH 0>,
		     <GIC_SPI 21 IRQ_TYPE_LEVEL_HIGH 0>;
	interrupt-names = "GPU", "JOB", "MMU";
	power-off-delay-ms = <200>;
	operating-points-v2 = <&gpu_opp_table>;
	mali-supply = <&vdd_gpu>;
	status = "okay";

	gpu_power_model: power_model {
		compatible = "arm,mali-simple-power-model";
		static-coefficient = <411000>;
		dynamic-coefficient = <733>;
		ts = <32000 4700 (-80) 2>;
		thermal-zone = "gpu-thermal";
		voltage = <900>;
		frequency = <500>;
		static-power = <300>;
		dynamic-power = <396>;
	};
};

&vopl {
	compatible = "rockchip,rk3399-vop-lit";
	reg = <0x00 0xff8f0000 0x00 0x600>,
        <0x00 0xff8f1c00 0x00 0x200>,
        <0x00 0xff8f2000 0x00 0x400>;
	reg-names = "regs", "cabc_lut", "gamma_lut";
	clocks = <&cru ACLK_VOP1>, <&cru DCLK_VOP1>, <&cru HCLK_VOP1>, <&cru DCLK_VOP1_DIV>;
	clock-names = "aclk_vop", "dclk_vop", "hclk_vop", "dclk_source";
	assigned-clocks = <&cru DCLK_VOP0_DIV>;
	assigned-clock-parents = <&cru PLL_CPLL>;
	status = "okay";
};

&vopl_mmu {
	interrupt-names = "vopl_mmu";
	clock-names = "aclk", "hclk";
	status = "okay";
};

&vopb {
	compatible = "rockchip,rk3399-vop-big";
	reg = <0x00 0xff900000 0x00 0x600>, 
          <0x00 0xff901c00 0x00 0x200>,
          <0x00 0xff902000 0x00 0x1000>;
	reg-names = "regs", "cabc_lut", "gamma_lut";
	clocks = <&cru ACLK_VOP0>, <&cru DCLK_VOP0>, <&cru HCLK_VOP0>, <&cru DCLK_VOP0_DIV>;
	clock-names = "aclk_vop", "dclk_vop", "hclk_vop", "dclk_source";
	assigned-clocks = <&cru DCLK_VOP0_DIV>;
	assigned-clock-parents = <&cru PLL_CPLL>;
	status = "okay";
};

&vopb_mmu {
	interrupt-names = "vopb_mmu";
	clock-names = "aclk", "hclk";
	status = "okay";
};

&isp0_mmu {
	clock-names = "aclk", "hclk";
	rk_iommu,disable_reset_quirk;
	status = "okay";
};

&isp1_mmu {
	clock-names = "aclk", "hclk";
	rk_iommu,disable_reset_quirk;
	status = "disabled";
};

&hdmi {
    pinctrl-names = "default";
	pinctrl-0 = <&hdmi_i2c_xfer>, <&hdmi_cec>;
	clocks = <&cru PCLK_HDMI_CTRL>, <&cru SCLK_HDMI_SFR>, <&cru PLL_VPLL>, <&cru PCLK_VIO_GRF>, <&cru SCLK_HDMI_CEC>;
	clock-names = "iahb", "isfr", "vpll", "grf", "cec";
	#address-cells = <0x01>;
	#size-cells = <0x00>;
	status = "okay";

	ports {

		hdmi_in: port@0 {
			#address-cells = <0x01>;
			#size-cells = <0x00>;

			hdmi_in_vopb: endpoint@0 {
				status = "disabled";
			};

			hdmi_in_vopl: endpoint@1 {
				status = "okay";
			};
		};
	};
};

&mipi_dsi {
	clocks = <&cru SCLK_DPHY_PLL>, <&cru PCLK_MIPI_DSI0>, <&cru SCLK_DPHY_TX0_CFG>;
	clock-names = "ref", "pclk", "phy_cfg";
	status = "disabled";
};

&mipi_dsi1 {
	clocks = <&cru SCLK_DPHY_PLL>, <&cru PCLK_MIPI_DSI1>, <&cru SCLK_DPHY_TX1RX1_CFG>;
	clock-names = "ref", "pclk", "phy_cfg";
	status = "disabled";
};

&edp {
	clocks = <&cru PCLK_EDP>, <&cru PCLK_EDP_CTRL>;
	clock-names = "dp", "pclk";
	status = "disabled";
};

&gpio0 {
    clocks = <&pmucru SRST_P_GPIO0>;
};

&gpio1 {
    clocks = <&pmucru SRST_P_GPIO1>;
};

&i2c3 {

    i2c3_gpio: i2c3_gpio {
        rockchip,pins =
            <4 RK_PC1 1 &pcfg_pull_none>,
            <4 RK_PB2 1 &pcfg_pull_none>;
    };
};

&i2s0 {

    i2s_8ch_mclk: i2s-8ch-mclk {
        rockchip,pins = <4 RK_PA0 1 &pcfg_pull_none>;
    };
};

&sdio0_bus4 {
    rockchip,pins = 
        <4 RK_PA3 1 0xcc>,
        <4 RK_PA4 1 0xcc>,
        <4 RK_PA5 1 0xcc>,
        <4 RK_PA6 1 0xcc>,
        <4 RK_PA7 1 0xcc>;
};

&pinctrl {
    
    pwm3a {
        pwm3a_pin_pull_down: pwm3a-pin-pull-down {
            rockchip,pins =
                <0 RK_PA6 1 &pcfg_pull_down>;
        };
    };
    
    pwm3b {
        pwm3b_pin_pull_down: pwm3b-pin-pull-down {
            rockchip,pins =
                <1 RK_PB6 1 &pcfg_pull_none>;
        };
    };
    
    pcie {
    
        pcie_clkreqn: pci-clkreqn {
            rockchip,pins = <2 RK_PD2 2 &pcfg_pull_none>;
        };
    
        pcie_clkreqnb: pci-clkreqnb {
            rockchip,pins = <4 RK_PD0 1 &pcfg_pull_none>;
        };
    };
    
    emmc {
        emmc_pwr: emmc-pwr {
            rockchip,pins = <0 RK_PA5 1 &pcfg_pull_up>;
        };
    };

    pmic {

        pmic_int_l: pmic-int-l {
            rockchip,pins = <1 RK_PC5 0x00 &pcfg_pull_up>;
        };

        pmic_dvs2: pmic-dvs2 {
            rockchip,pins = <1 RK_PC2 0x00 &pcfg_pull_down>;
        };

        vsel1_gpio: vsel1-gpio {
            rockchip,pins = <1 RK_PC1 0x00 &pcfg_pull_down>;
        };

        vsel2_gpio: vsel2-gpio {
            rockchip,pins = <1 RK_PB6 0x00 &pcfg_pull_down>;
        };
    };

    usb2 {

        otg_vbus_drv: otg-vbus-drv {
            rockchip,pins = <4 RK_PC5 0 &pcfg_pull_none>;
        };
    };

    vcc_sd {

        vcc_sd_h: vcc-sd-h {
            rockchip,pins = <0 RK_PA1 0 &pcfg_pull_up>;
        };
    };

    fusb30x {

        fusb0_int: fusb0-int {
            rockchip,pins = <1 RK_PA2 0 &pcfg_pull_up>;
        };
    };

    sdio-pwrseq {

        wifi_enable_h: wifi-enable-h {
            rockchip,pins = <0 RK_PB2 0 &pcfg_pull_none>;
        };
    };
    
    wireless-bluetooth {

        uart0_gpios: uart0-gpios {
            rockchip,pins = <2 RK_PC3 0 &pcfg_pull_none>;
        };
    };

    isp {

        cif_clkout: cif-clkout {
            rockchip,pins = <2 RK_PB3 3 &pcfg_pull_none>;
        };

        isp_dvp_d0d7: isp-dvp-d0d7 {
            rockchip,pins = 
                <4 RK_PD3 0 &pcfg_pull_none>,
                <2 RK_PB3 3 &pcfg_pull_none>,
                <2 RK_PA0 3 &pcfg_pull_none>,
                <2 RK_PA1 3 &pcfg_pull_none>,
                <2 RK_PA2 3 &pcfg_pull_none>,
                <2 RK_PA3 3 &pcfg_pull_none>,
                <2 RK_PA4 3 &pcfg_pull_none>,
                <2 RK_PA5 3 &pcfg_pull_none>,
                <2 RK_PA6 3 &pcfg_pull_none>,
                <2 RK_PA7 3 &pcfg_pull_none>,
                <2 RK_PB0 3 &pcfg_pull_none>,
                <2 RK_PB1 3 &pcfg_pull_none>,
                <2 RK_PB2 3 &pcfg_pull_none>;
        };

        isp_shutter: isp-shutter {
            rockchip,pins = 
                <1 RK_PA1 1 &pcfg_pull_none>,
                <1 RK_PA0 1 &pcfg_pull_none>;
        };

        isp_flash_trigger: isp-flash-trigger {
            rockchip,pins = <1 RK_PA3 1 &pcfg_pull_none>;
        };

        isp_flash_trigger_as_gpio: isp-flash-trigger-as-gpio {
            rockchip,pins = <0 RK_PC1 0 &pcfg_pull_none>;
        };
    };

    cam_pins {

        cam0_default_pins: cam0-default-pins {
            rockchip,pins = 
                <4 RK_PD3 0 &pcfg_pull_none>,
                <2 RK_PB3 3 &pcfg_pull_none>;
        };

        cam0_sleep_pins: cam0-sleep-pins {
            rockchip,pins = 
                <4 RK_PD3 3 &pcfg_pull_none>,
                <2 RK_PB3 0 &pcfg_pull_none>;
        };
    };

    buttons {

        pwrbtn: pwrbtn {
            rockchip,pins = <0 RK_PA5 0 &pcfg_pull_up>;
        };
    };

    hdmiin {

        hdmiin_gpios: hdmiin-gpios {
            rockchip,pins = 
                <2 RK_PA5 0 &pcfg_output_high>,
                <2 RK_PA6 0 &pcfg_output_high>,
                <2 RK_PA7 0 &pcfg_pull_none>,
                <2 RK_PB0 0 &pcfg_output_high>,
                <2 RK_PB1 0 &pcfg_output_high>,
                <2 RK_PB2 0 &pcfg_output_low>,
                <2 RK_PB4 0 &pcfg_pull_none>;
        };
    };

    xgpio_beep {

        beep_gpio: beep-gpio {
            rockchip,pins = <4 RK_PC6 0 &pcfg_pull_up>;
        };
    };

    xgpio_fan {

        fan_gpio: fan-gpio {
            rockchip,pins = <1 RK_PC2 0 &pcfg_pull_up>;
        };
    };

    leds {

        led1_ctl: led1-ctl {
            rockchip,pins = <1 RK_PC7 0 &pcfg_pull_up>;
        };

        led2_ctl: led2-ctl {
            rockchip,pins = <0 RK_PB4 0 &pcfg_pull_up>;
        };

        led3_ctl: led3-ctl {
            rockchip,pins = <1 RK_PA1 0 &pcfg_pull_up>;
        };

        led4_ctl: led4-ctl {
            rockchip,pins = <0 RK_PB0 0 &pcfg_pull_up>;
        };
    };
};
